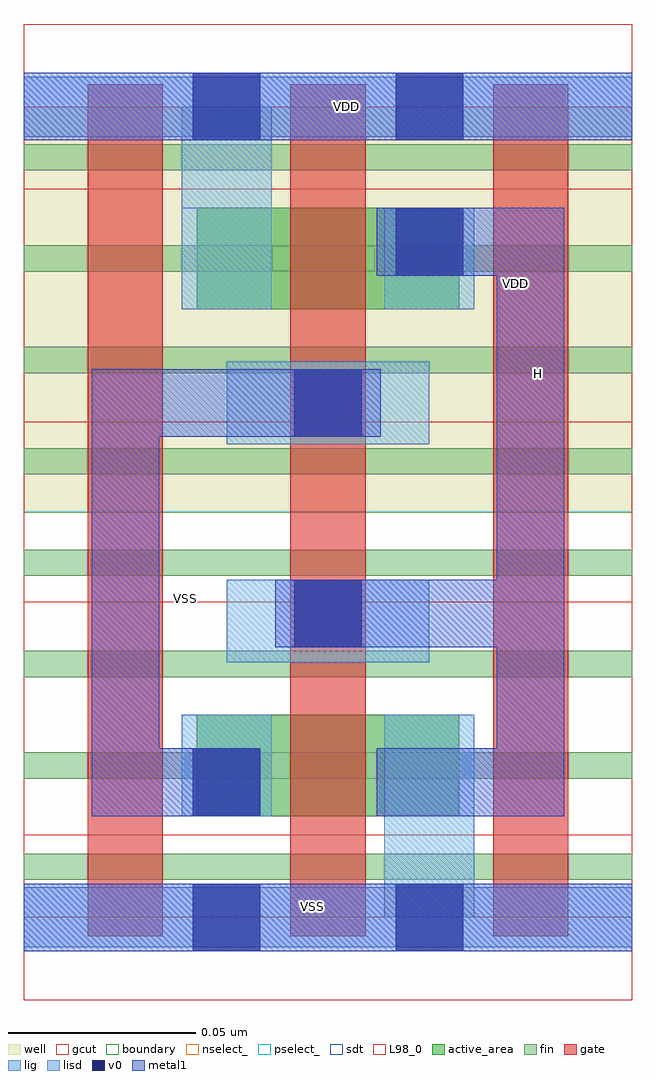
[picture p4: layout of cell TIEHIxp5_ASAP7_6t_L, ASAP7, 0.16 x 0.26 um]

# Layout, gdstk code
import gdstk
lib = gdstk.Library(unit=1e-6, precision=2.5e-10)
def R(c, l, rs):  # rectangles x0, y0, x1, y1
    for r in rs: c.add(gdstk.rectangle(r[:2], r[2:], *l))
def A(c, l, x, y, w, h, nx, ny, dx, dy):  # array of equal rectangles
    R(c, l, [(x+i*dx, y+j*dy, x+i*dx+w, y+j*dy+h) for i in range(nx) for j in range(ny)])
def P(c, l, *ps):  # polygons
    for p in ps: c.add(gdstk.Polygon(p, *l))
well = (1, 0)
fin = (2, 0)
gate = (7, 0)
gcut = (10, 0)
active_area = (11, 0)
nselect_ = (12, 0)
pselect_ = (13, 0)
lig = (16, 0)
lisd = (17, 0)
v0 = (18, 0)
metal1 = (19, 0)
sdt = (88, 0)
L98_0 = (98, 0)
boundary = (100, 0)

tiehixp5_asap7_6t_l = lib.new_cell('TIEHIxp5_ASAP7_6t_L')
R(tiehixp5_asap7_6t_l, well, [(0,0.108,0.162,0.216)])
A(tiehixp5_asap7_6t_l, fin, 0, 0.01, 0.162, 0.007, 1, 8, 0, 0.027)
A(tiehixp5_asap7_6t_l, gate, 0.017, -0.005, 0.02, 0.227, 3, 1, 0.054, 0)
R(tiehixp5_asap7_6t_l, gcut, [(0,-0.022,0.162,0.022), (0,0.084,0.162,0.132), (0,0.194,0.162,0.238)])
R(tiehixp5_asap7_6t_l, active_area, [(0.046,0.027,0.116,0.054), (0.046,0.162,0.116,0.189)])
R(tiehixp5_asap7_6t_l, nselect_, [(0,0,0.162,0.108)])
R(tiehixp5_asap7_6t_l, pselect_, [(0,0.108,0.162,0.216)])
R(tiehixp5_asap7_6t_l, lig, [(0,-0.008,0.162,0.008), (0.054,0.068,0.108,0.09), (0.054,0.126,0.108,0.148), (0,0.208,0.162,0.224)])
R(tiehixp5_asap7_6t_l, lisd, [(0.096,0,0.12,0.054), (0.042,0.027,0.066,0.054), (0.042,0.162,0.066,0.216), (0.096,0.162,0.12,0.189)])
R(tiehixp5_asap7_6t_l, v0, [(0.045,-0.009,0.063,0.009), (0.099,-0.009,0.117,0.009), (0.045,0.027,0.063,0.045), (0.072,0.072,0.09,0.09), (0.072,0.128,0.09,0.146), (0.099,0.171,0.117,0.189), (0.045,0.207,0.063,0.225), (0.099,0.207,0.117,0.225)])
R(tiehixp5_asap7_6t_l, metal1, [(0,-0.009,0.162,0.009), (0,0.207,0.162,0.225)])
P(tiehixp5_asap7_6t_l, metal1, [(0.144,0.189),(0.094,0.189),(0.094,0.171),(0.126,0.171),(0.126,0.09),(0.067,0.09),(0.067,0.072),(0.126,0.072),(0.126,0.045),(0.094,0.045),(0.094,0.027),(0.144,0.027)],
  [(0.095,0.146),(0.018,0.146),(0.018,0.027),(0.063,0.027),(0.063,0.045),(0.036,0.045),(0.036,0.128),(0.095,0.128)])
R(tiehixp5_asap7_6t_l, sdt, [(0.042,0.027,0.066,0.054), (0.096,0.027,0.12,0.054), (0.042,0.162,0.066,0.189), (0.096,0.162,0.12,0.189)])
R(tiehixp5_asap7_6t_l, L98_0, [(0,0,0.162,0.216)])
R(tiehixp5_asap7_6t_l, boundary, [(0,0,0.162,0.216)])
tiehixp5_asap7_6t_l.add(gdstk.Label('VDD', (0.131,0.169), layer=1, texttype=251))
tiehixp5_asap7_6t_l.add(gdstk.Label('H', (0.137,0.145), layer=19, texttype=251))
tiehixp5_asap7_6t_l.add(gdstk.Label('VSS', (0.077,0.003), layer=19, texttype=251))
tiehixp5_asap7_6t_l.add(gdstk.Label('VDD', (0.086,0.216), layer=19, texttype=251))
tiehixp5_asap7_6t_l.add(gdstk.Label('VSS', (0.043,0.085), layer=3, texttype=251))

lib.write_gds('TIEHIxp5_ASAP7_6t_L.gds')
